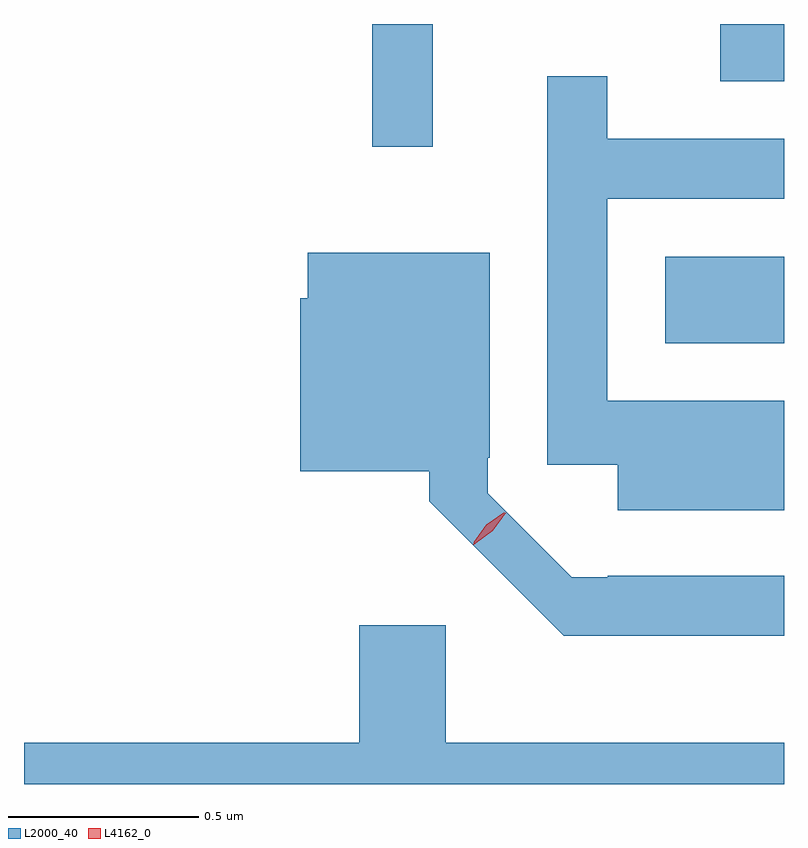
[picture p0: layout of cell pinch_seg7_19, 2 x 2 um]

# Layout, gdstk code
import gdstk
lib = gdstk.Library(unit=1e-6, precision=1e-09)
def R(c, l, rs):  # rectangles x0, y0, x1, y1
    for r in rs: c.add(gdstk.rectangle(r[:2], r[2:], *l))
def P(c, l, *ps):  # polygons
    for p in ps: c.add(gdstk.Polygon(p, *l))
L2000_40 = (2000, 40)
L4162_0 = (4162, 0)

pinch_seg7_19 = lib.new_cell('pinch_seg7_19')
R(pinch_seg7_19, L2000_40, [(825.616,1684.556,825.929,1684.784), (824.846,1685.073,825.004,1685.396), (825.761,1685.246,825.929,1685.396)])
P(pinch_seg7_19, L2000_40, [(825.929,1684.404),(825.464,1684.404),(825.464,1684.936),(825.929,1684.936),(825.929,1685.094),(825.464,1685.094),(825.464,1685.258),(825.306,1685.258),(825.306,1684.236),(825.491,1684.236),(825.491,1684.116),(825.929,1684.116)],
  [(825.929,1683.944),(825.465,1683.944),(825.465,1683.94),(825.371,1683.94),(825.15,1684.161),(825.15,1684.255),(825.154,1684.255),(825.154,1684.794),(824.676,1684.794),(824.676,1684.674),(824.656,1684.674),(824.656,1684.219),(824.996,1684.219),(824.996,1684.14),(825.35,1683.786),(825.929,1683.786)],
  [(825.929,1683.504),(825.039,1683.504),(825.039,1683.814),(824.811,1683.814),(824.811,1683.504),(823.929,1683.504),(823.929,1683.396),(825.929,1683.396)])
P(pinch_seg7_19, L4162_0, [(825.111,1684.026),(825.111,1684.027),(825.148,1684.076),(825.198,1684.111),(825.198,1684.111),(825.198,1684.111),(825.162,1684.062),(825.112,1684.026)],
  [(825.112,1684.031),(825.112,1684.032),(825.146,1684.078),(825.193,1684.111),(825.193,1684.111),(825.193,1684.11),(825.16,1684.064),(825.113,1684.031)])

lib.write_gds('pinch_seg7_19.gds')
